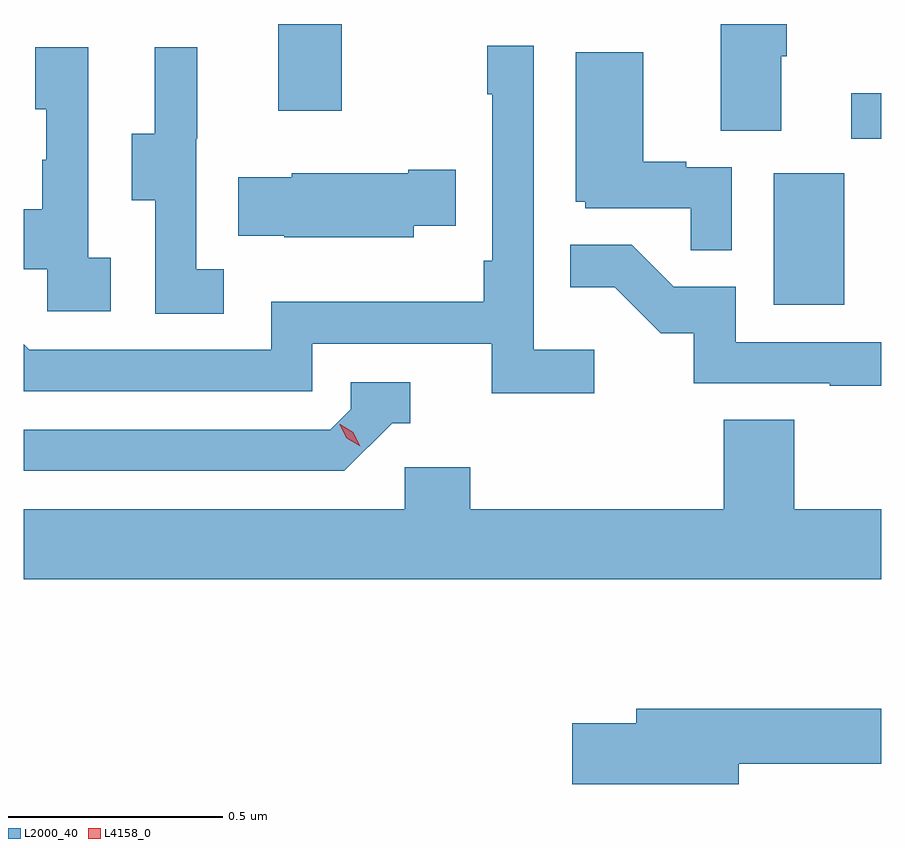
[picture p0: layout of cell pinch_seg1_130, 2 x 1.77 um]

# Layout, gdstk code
import gdstk
lib = gdstk.Library(unit=1e-6, precision=1e-09)
def R(c, l, rs):  # rectangles x0, y0, x1, y1
    for r in rs: c.add(gdstk.rectangle(r[:2], r[2:], *l))
def P(c, l, *ps):  # polygons
    for p in ps: c.add(gdstk.Polygon(p, *l))
L2000_40 = (2000, 40)
L4158_0 = (4158, 0)

pinch_seg1_130 = lib.new_cell('pinch_seg1_130')
R(pinch_seg1_130, L2000_40, [(1046.702,557.7,1046.866,558.007), (1046.883,558.087,1046.953,558.193), (1045.547,558.153,1045.695,558.355)])
P(pinch_seg1_130, L2000_40, [(1046.719,558.28),(1046.732,558.28),(1046.732,558.355),(1046.579,558.355),(1046.579,558.106),(1046.719,558.106)],
  [(1046.284,557.596),(1046.142,557.596),(1046.142,558.304),(1046.034,558.304),(1046.034,558.191),(1046.046,558.191),(1046.046,557.803),(1046.026,557.803),(1046.026,557.707),(1045.53,557.707),(1045.53,557.595),(1044.966,557.595),(1044.953,557.608),(1044.953,557.499),(1045.626,557.499),(1045.626,557.61),(1046.045,557.61),(1046.045,557.494),(1046.284,557.494)],
  [(1045.42,557.783),(1045.356,557.783),(1045.356,558.087),(1045.358,558.087),(1045.358,558.301),(1045.259,558.301),(1045.259,558.099),(1045.205,558.099),(1045.205,557.944),(1045.26,557.944),(1045.26,557.68),(1045.42,557.68)],
  [(1045.156,557.81),(1045.104,557.81),(1045.104,558.301),(1044.98,558.301),(1044.98,558.156),(1045.006,558.156),(1045.006,558.038),(1044.996,558.038),(1044.996,557.923),(1044.953,557.923),(1044.953,557.783),(1045.008,557.783),(1045.008,557.685),(1045.156,557.685)],
  [(1046.604,558.021),(1046.498,558.021),(1046.498,558.034),(1046.398,558.034),(1046.398,558.289),(1046.24,558.289),(1046.24,557.94),(1046.262,557.94),(1046.262,557.925),(1046.509,557.925),(1046.509,557.827),(1046.604,557.827)],
  [(1045.863,557.885),(1045.961,557.885),(1045.961,558.015),(1045.85,558.015),(1045.85,558.007),(1045.578,558.007),(1045.578,557.998),(1045.453,557.998),(1045.453,557.861),(1045.561,557.861),(1045.561,557.858),(1045.863,557.858)],
  [(1046.953,557.613),(1046.613,557.613),(1046.613,557.742),(1046.469,557.742),(1046.371,557.84),(1046.227,557.84),(1046.227,557.741),(1046.331,557.741),(1046.438,557.634),(1046.515,557.634),(1046.515,557.517),(1046.833,557.517),(1046.833,557.512),(1046.953,557.512)],
  [(1045.812,557.424),(1045.855,557.424),(1045.855,557.52),(1045.716,557.52),(1045.716,557.457),(1045.668,557.409),(1044.953,557.409),(1044.953,557.313),(1045.701,557.313)],
  [(1046.953,557.224),(1046.75,557.224),(1046.75,557.432),(1046.585,557.432),(1046.585,557.224),(1045.994,557.224),(1045.994,557.322),(1045.842,557.322),(1045.842,557.224),(1044.953,557.224),(1044.953,557.06),(1046.953,557.06)],
  [(1046.62,556.63),(1046.953,556.63),(1046.953,556.759),(1046.381,556.759),(1046.381,556.725),(1046.232,556.725),(1046.232,556.583),(1046.62,556.583)])
P(pinch_seg1_130, L4158_0, [(1045.738,557.37),(1045.707,557.389),(1045.69,557.421),(1045.69,557.422),(1045.691,557.422),(1045.722,557.403),(1045.738,557.37),(1045.738,557.37)])

lib.write_gds('pinch_seg1_130.gds')
